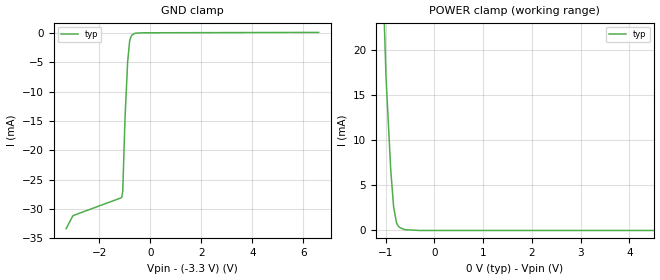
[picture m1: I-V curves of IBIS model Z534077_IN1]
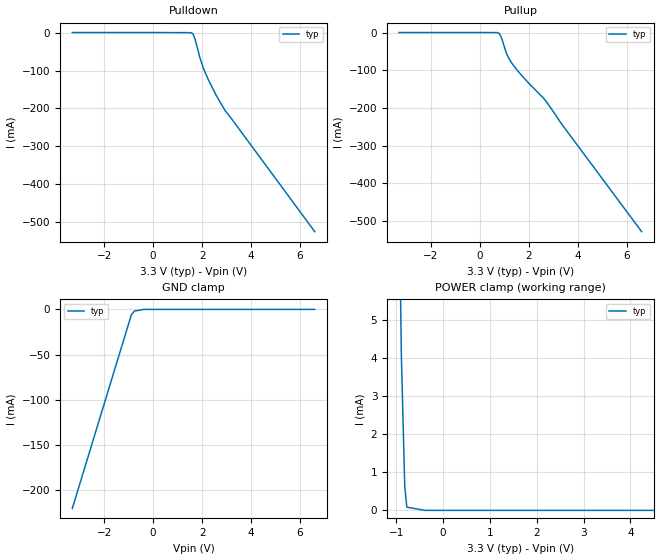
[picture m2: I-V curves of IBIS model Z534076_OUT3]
| YOU ARE ONLY AUTHORIZED TO USE THIS SOFTWARE
| ACCORDING TO LICENSOR'S LICENSE RESTRICTIONS.
[IBIS Ver] 3.1
[File Name] mc100lvel90dw.ibs
[File Rev] 1.0.
[Source] Derived from mc100lvel17dw_3_3.ibs, mc100el13dw_pecl.ibs, and
| mc100lvel17dw_-3_3.ibs and data Measured and created by ICX Technology
[Date] 2/9/2004
[Copyright]
| (C) COPYRIGHT 1993-2000
| MENTOR GRAPHICS CORPORATION
| ICX STANDARD LIBRARY, ICX PROJECT MODELING,
| ICX CUSTOM MODELING, ICX VENDOR MODEL
| ALL RIGHTS RESERVED.
| THE FOLLOWING ARE TRADEMARKS OR SERVICE MARKS OF
| MENTOR GRAPHICS CORPORATION:ICX (R), ICX STANDARD
| LIBRARY(R), ICX PROJECT MODELING(R), ICX CUSTOM
| MODELING(R), qualityIBIS(TM), MODELVIEWER(TM),
| AND MODELEDITOR(TM)
| ALL COPIES OF SOFTWARE, INCLUDING BUT NOT LIMITED TO
| ANY MODIFICATIONS, ENHANCEMENTS OR DERIVATIVE WORKS,
| MUST CONTAIN ALL MENTOR GRAPHICS CORPORATION'S
| NOTICES AND LEGENDS, INCLUDING THOSE EMBEDDED IN
| SOFTWARE AND THOSE AFFIXED TO SOFTWARE MEDIUM
| AND CONTAINER, AS RECEIVED FROM MENTOR GRAPHICS
| CORPORATION.
|  ZAP Model Builder 2.7
[Component] mc100lvel90dw
[Manufacturer] On Semiconductor
[Package]
| variable   typ   min   max
R_pkg  .158ohms NA NA
L_pkg  3.37nH NA NA
C_pkg  .4pF NA NA
[Pin] signal_name  model_name  R_pin  L_pin C_pin
1 VCC POWER .158 3.36n .4p
2 D0 Z534077_IN1 .158 3.36n .4p
3 _D0 Z534077_IN1 .158 3.36n .4p
4 ECLVBB POWER .186 5.37n .68p
5 D1 Z534077_IN1 .158 3.36n .4p
6 _D1 Z534077_IN1 .158 3.36n .4p
7 ECLVBB POWER .186 5.37n .68p
8 D2 Z534077_IN1 .158 3.36n .4p
9 _D2 Z534077_IN1 .158 3.36n .4p
10 VEE POWER .158 3.36n .4p
11 VCC POWER .158 3.36n .4p
12 _Q2 Z534076_OUT3 .178 4.42n .62p
13 Q2 Z534076_OUT3 .182 4.89n .65p
14 GND GND .166 4.25n .44p
15 _Q1 Z534076_OUT3 .178 4.42n .62p
16 Q1 Z534076_OUT3 .182 4.89n .65p
17 GND GND .166 4.25n .44p
18 _Q0 Z534076_OUT3 .178 4.42n .62p
19 Q0 Z534076_OUT3 .182 4.89n .65p
20 VCC POWER .158 3.36n .4p
[Diff Pin] inv_pin vdiff tdelay_typ tdelay_min tdelay_max
2 3 800mv NA NA NA
5 6 800mv NA NA NA
8 9 800mv NA NA NA
13 12 NA NA NA NA
16 15 NA NA NA NA
19 18 NA NA NA NA
| Models and submodels in the file (2): Z534077_IN1 (Input_ECL), Z534076_OUT3 (Output_ECL)
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| (C) COPYRIGHT 1993-2000
| MENTOR GRAPHICS CORPORATION
| ICX STANDARD LIBRARY, ICX PROJECT MODELING,
| ICX CUSTOM MODELING, ICX VENDOR MODEL
| ALL RIGHTS RESERVED.
| THE FOLLOWING ARE TRADEMARKS OR SERVICE MARKS OF
| MENTOR GRAPHICS CORPORATION:ICX (R), ICX STANDARD
| LIBRARY(R), ICX PROJECT MODELING(R), ICX CUSTOM
| MODELING(R), qualityIBIS(TM), MODELVIEWER(TM),
| AND MODELEDITOR(TM)
| ALL COPIES OF SOFTWARE, INCLUDING BUT NOT LIMITED TO
| ANY MODIFICATIONS, ENHANCEMENTS OR DERIVATIVE WORKS,
| MUST CONTAIN ALL MENTOR GRAPHICS CORPORATION'S
| NOTICES AND LEGENDS, INCLUDING THOSE EMBEDDED IN
| SOFTWARE AND THOSE AFFIXED TO SOFTWARE MEDIUM
| AND CONTAINER, AS RECEIVED FROM MENTOR GRAPHICS
| CORPORATION.
| Model Application Version 1.89 2/18/99.
[Model] Z534077_IN1
Model_type Input_ECL
Vinl = -1.475V
Vinh = -1.165V
C_comp 0.600pF NA NA
| variable typ   min   max
[Voltage Range] -3.300V NA NA
[GND Clamp Reference] -3.300V NA NA
[POWER Clamp Reference] 0.000V NA NA
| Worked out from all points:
|   GND clamp passes 1 mA (typ) near -0.79 V on its own axis
|   POWER clamp passes 1 mA (typ) near -0.78 V on its own axis
[GND Clamp]
-3.3V     -33.35mA   NA         NA
-3.039V   -31.17mA   NA         NA
-1.114V   -27.96mA   NA         NA
-1.081V   -26.98mA   NA         NA
-992mV    -14.59mA   NA         NA
-889mV    -4.951mA   NA         NA
-810mV    -1.384mA   NA         NA
-772mV    -785.8uA   NA         NA
-716mV    -368.9uA   NA         NA
-601mV    -60.26uA   NA         NA
-300.5mV  12.94uA    NA         NA
6.6V      79.97uA    NA         NA
[POWER Clamp]
-3.3V     856.1mA    NA         NA
-1.161V   57.46mA    NA         NA
-1.052V   26.82mA    NA         NA
-995mV    17.08mA    NA         NA
-898.4mV  6.742mA    NA         NA
-839.7mV  2.664mA    NA         NA
-779.9mV  848.9uA    NA         NA
-742.4mV  473uA      NA         NA
-703.1mV  295.1uA    NA         NA
-606.3mV  86.49uA    NA         NA
-303.1mV  0A         NA         NA
6.6V      0A         NA         NA
| (C) COPYRIGHT 1993-2000
| MENTOR GRAPHICS CORPORATION
| ICX STANDARD LIBRARY, ICX PROJECT MODELING,
| ICX CUSTOM MODELING, ICX VENDOR MODEL
| ALL RIGHTS RESERVED.
| THE FOLLOWING ARE TRADEMARKS OR SERVICE MARKS OF
| MENTOR GRAPHICS CORPORATION:ICX (R), ICX STANDARD
| LIBRARY(R), ICX PROJECT MODELING(R), ICX CUSTOM
| MODELING(R), qualityIBIS(TM), MODELVIEWER(TM),
| AND MODELEDITOR(TM)
| ALL COPIES OF SOFTWARE, INCLUDING BUT NOT LIMITED TO
| ANY MODIFICATIONS, ENHANCEMENTS OR DERIVATIVE WORKS,
| MUST CONTAIN ALL MENTOR GRAPHICS CORPORATION'S
| NOTICES AND LEGENDS, INCLUDING THOSE EMBEDDED IN
| SOFTWARE AND THOSE AFFIXED TO SOFTWARE MEDIUM
| AND CONTAINER, AS RECEIVED FROM MENTOR GRAPHICS
| CORPORATION.
| Model Application Version 1.89 2/18/99.
[Model] Z534076_OUT3
Model_type Output_ECL
Vref=0.000V
Rref=50.00ohms
Cref=0.000F
Vmeas=1.970V
C_comp 2.000pF NA NA
| variable typ   min   max
[Voltage Range] 3.300V NA NA
[POWER Clamp Reference] 3.300V NA NA
[Pullup Reference] 3.300V NA NA
[Pulldown Reference] 3.300V NA NA
[GND Clamp Reference] 0.000V NA NA
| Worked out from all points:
|   POWER clamp passes 1 mA (typ) near -0.83 V on its own axis
[GND Clamp]
-3.3V     -220.6mA   NA         NA
-885.8mV  -5.811mA   NA         NA
-761.4mV  -1.812mA   NA         NA
-380.7mV  0A         NA         NA
6.6V      0A         NA         NA
[Pulldown]
-3.3V     277.2uA    NA         NA
1.595V    -1.533mA   NA         NA
1.65V     -6.019mA   NA         NA
1.718V    -18.2mA    NA         NA
1.905V    -64.74mA   NA         NA
2.07V     -96.83mA   NA         NA
2.26V     -124.9mA   NA         NA
2.573V    -165.2mA   NA         NA
2.929V    -204.6mA   NA         NA
6.6V      -525.1mA   NA         NA
[Pullup]
-3.3V     263.4uA    NA         NA
680mV     110.2uA    NA         NA
795mV     -2.69mA    NA         NA
868mV     -11.63mA   NA         NA
1.078V    -54.63mA   NA         NA
1.29V     -80.11mA   NA         NA
1.747V    -116.9mA   NA         NA
2.679V    -180.3mA   NA         NA
3.291V    -238.7mA   NA         NA
6.6V      -528.1mA   NA         NA
[POWER Clamp]
-3.3V     560.9mA    NA         NA
-1.072V   24.39mA    NA         NA
-1.005V   14.48mA    NA         NA
-894mV    4.104mA    NA         NA
-821mV    617.7uA    NA         NA
-777mV    83.4uA     NA         NA
-388.5mV  0A         NA         NA
6.6V      0A         NA         NA
[Ramp]
| variable typ min max
dV/dt_r 486.8m/169.8p NA NA
dV/dt_f 486.8m/178.4p NA NA
R_load = 50.0Ohms
